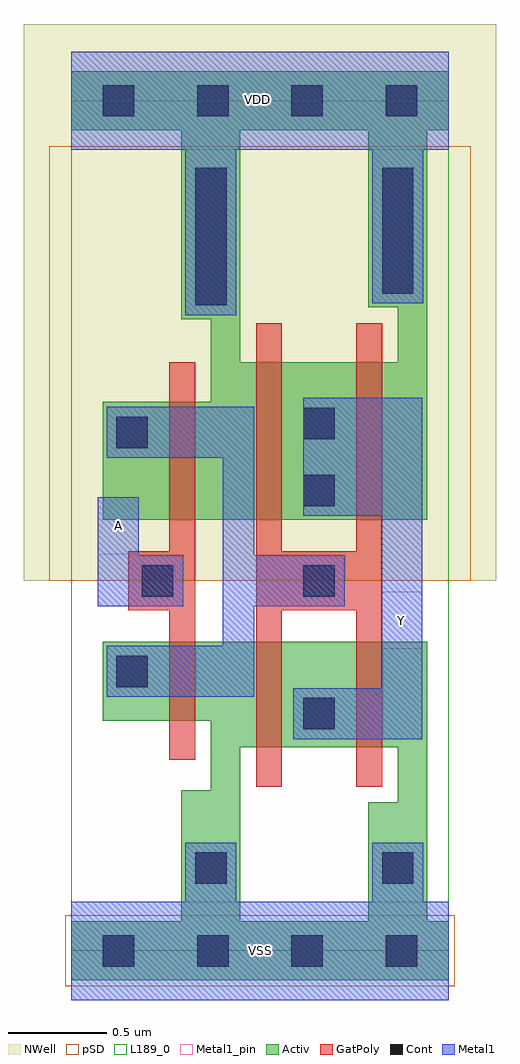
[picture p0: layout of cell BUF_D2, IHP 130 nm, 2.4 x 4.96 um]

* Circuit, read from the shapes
.subckt BUF_D2 A VDD VSS Y
XM1 VSS A n1 VSS sg13_lv_nmos w=0.4u l=0.13u
XM2 Y n1 VSS VSS sg13_lv_nmos w=0.535u l=0.13u m=2
XM3 VDD A n1 VDD sg13_lv_pmos w=0.6u l=0.13u
XM4 Y n1 VDD VDD sg13_lv_pmos w=0.8u l=0.13u m=2
.ends

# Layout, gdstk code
import gdstk
lib = gdstk.Library(unit=1e-6, precision=1e-09)
def R(c, l, rs):  # rectangles x0, y0, x1, y1
    for r in rs: c.add(gdstk.rectangle(r[:2], r[2:], *l))
def A(c, l, x, y, w, h, nx, ny, dx, dy):  # array of equal rectangles
    R(c, l, [(x+i*dx, y+j*dy, x+i*dx+w, y+j*dy+h) for i in range(nx) for j in range(ny)])
def P(c, l, *ps):  # polygons
    for p in ps: c.add(gdstk.Polygon(p, *l))
Activ = (1, 0)
GatPoly = (5, 0)
Cont = (6, 0)
Metal1 = (8, 0)
Metal1_pin = (8, 2)
pSD = (14, 0)
NWell = (31, 0)
L189_0 = (189, 0)

buf_d2 = lib.new_cell('BUF_D2')
P(buf_d2, Activ, [(0,-0.15),(0,0.15),(0.56,0.15),(0.86,0.15),(1.51,0.15),(1.51,0.755),(1.66,0.755),(1.66,1.035),(0.86,1.035),(0.86,0.15),(0.56,0.15),(0.56,0.815),(0.71,0.815),(0.71,1.17),(0.16,1.17),(0.16,1.57),(1.81,1.57),(1.81,0.15),(1.92,0.15),(1.92,-0.15)],
  [(0.16,2.19),(0.16,2.79),(0.71,2.79),(0.71,2.99),(0.86,2.99),(1.66,2.99),(1.66,3.27),(1.51,3.27),(1.51,4.17),(0.86,4.17),(0.86,2.99),(0.71,2.99),(0.71,3.21),(0.56,3.21),(0.56,4.17),(0,4.17),(0,4.47),(1.92,4.47),(1.92,4.17),(1.81,4.17),(1.81,2.19)])
P(buf_d2, GatPoly, [(0.94,0.835),(0.94,1.73),(0.94,2.03),(0.94,3.19),(1.07,3.19),(1.07,2.03),(1.45,2.03),(1.45,3.19),(1.58,3.19),(1.58,0.835),(1.45,0.835),(1.45,1.73),(1.07,1.73),(1.07,0.835)],
  [(0.5,0.97),(0.5,1.73),(0.29,1.73),(0.29,2.03),(0.5,2.03),(0.5,2.99),(0.63,2.99),(0.63,0.97)])
A(buf_d2, Cont, 0.16, -0.08, 0.16, 0.16, 4, 2, 0.48, 4.32)
R(buf_d2, Cont, [(0.63,0.34,0.79,0.5), (1.58,0.34,1.74,0.5), (1.18,1.125,1.34,1.285), (0.23,1.34,0.39,1.5), (0.36,1.8,0.52,1.96), (1.18,1.8,1.34,1.96), (1.18,2.26,1.34,2.42), (0.23,2.555,0.39,2.715), (1.18,2.6,1.34,2.76), (0.63,3.28,0.79,3.98), (1.58,3.34,1.74,3.98)])
P(buf_d2, Metal1, [(0.18,1.29),(0.18,1.55),(0.77,1.55),(0.77,2.505),(0.18,2.505),(0.18,2.765),(0.93,2.765),(0.93,2.01),(1.39,2.01),(1.39,1.75),(0.93,1.75),(0.93,1.29)],
  [(0.58,3.23),(0.58,4.07),(0,4.07),(0,4.57),(1.92,4.57),(1.92,4.07),(1.79,4.07),(1.79,3.29),(1.53,3.29),(1.53,4.07),(0.84,4.07),(0.84,3.23)],
  [(1.13,1.075),(1.13,1.335),(1.575,1.335),(1.575,2.21),(1.18,2.21),(1.18,2.81),(1.785,2.81),(1.785,1.075)],
  [(0.135,1.75),(0.135,2.305),(0.345,2.305),(0.345,2.01),(0.57,2.01),(0.57,1.75)],
  [(0,-0.25),(0,0.25),(0.58,0.25),(0.58,0.55),(0.84,0.55),(0.84,0.25),(1.53,0.25),(1.53,0.55),(1.79,0.55),(1.79,0.25),(1.92,0.25),(1.92,-0.25)])
R(buf_d2, Metal1_pin, [(0,-0.25,1.92,0.25), (1.575,1.535,1.785,1.825), (0.135,2.015,0.345,2.305), (0,4.07,1.92,4.57)])
R(buf_d2, pSD, [(-0.03,-0.18,1.95,0.18), (-0.11,1.88,2.03,4.09)])
R(buf_d2, NWell, [(-0.24,1.88,2.16,4.71)])
R(buf_d2, L189_0, [(0,0,1.92,4.32)])
buf_d2.add(gdstk.Label('Y', (1.68,1.68), layer=8, texttype=25))
buf_d2.add(gdstk.Label('A', (0.24,2.16), layer=8, texttype=25))
buf_d2.add(gdstk.Label('VDD', (0.945,4.325), layer=8, texttype=25))
buf_d2.add(gdstk.Label('VSS', (0.965,0), layer=8, texttype=25))

lib.write_gds('BUF_D2.gds')
